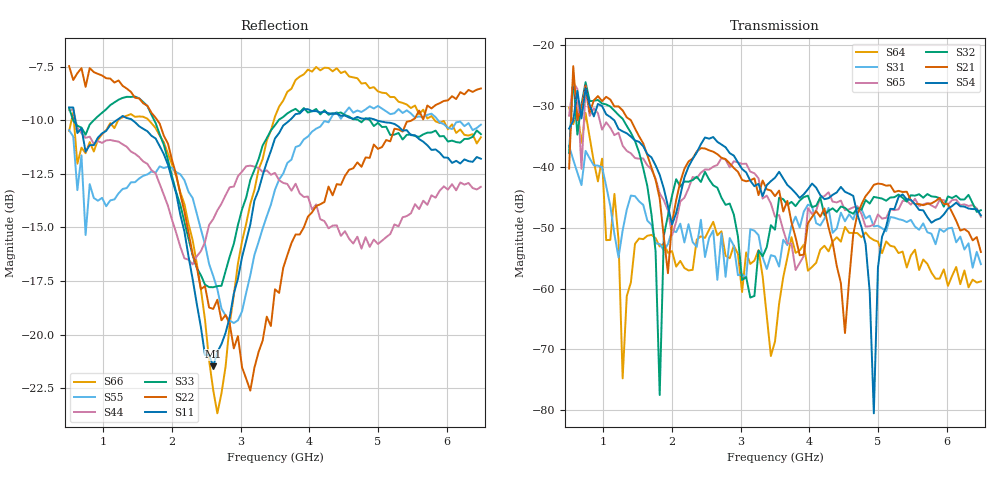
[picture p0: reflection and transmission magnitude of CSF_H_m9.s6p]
!Keysight Technologies,M9804A,MY58100912,A.14.10.03
!Date: Thursday, April 27, 2023 10:28:33
!Correction: S11(C  6-Port  )
!S12(C  6-Port  )
!S13(C  6-Port  )
!S14(C  6-Port  )
!S15(C  6-Port  )
!S16(C  6-Port  )
!S21(C  6-Port  )
!S22(C  6-Port  )
!S23(C  6-Port  )
!S24(C  6-Port  )
!S25(C  6-Port  )
!S26(C  6-Port  )
!S31(C  6-Port  )
!S32(C  6-Port  )
!S33(C  6-Port  )
!S34(C  6-Port  )
!S35(C  6-Port  )
!S36(C  6-Port  )
!S41(C  6-Port  )
!S42(C  6-Port  )
!S43(C  6-Port  )
!S44(C  6-Port  )
!S45(C  6-Port  )
!S46(C  6-Port  )
!S51(C  6-Port  )
!S52(C  6-Port  )
!S53(C  6-Port  )
!S54(C  6-Port  )
!S55(C  6-Port  )
!S56(C  6-Port  )
!S61(C  6-Port  )
!S62(C  6-Port  )
!S63(C  6-Port  )
!S64(C  6-Port  )
!S65(C  6-Port  )
!S66(C  6-Port  )
!S6P File: Measurement: :
# Hz S  RI  R 50
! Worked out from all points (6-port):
!   101 points, 500 MHz to 6.5 GHz, reference 50 ohm
!   strongest paths, dB at 500 MHz, 2 GHz, 3.5 GHz, 5 GHz, 6.5 GHz:
!     S54: -33.7, -49.5, -41.8, -56.6, -48.0
!     S21: -40.3, -49.1, -44.8, -42.7, -54.0
!     S32: -37.7, -44.7, -50.3, -45.1, -47.1
!     S65: -31.6, -51.2, -48.2, -47.8, -48.2
!     S31: -36.5, -50.5, -54.7, -49.7, -56.0
!     S64: -30.2, -53.8, -68.7, -52.3, -58.8
!   lowest |S11| = -21.5 dB at 2.6 GHz (marker M1), VSWR 1.18, Z = 42.5 + j2.19 ohm
!   |S11| at or under -10 dB: 589.8 MHz to 1.194 GHz (604.2 MHz wide, 67.7 % of centre); 1.423 GHz to 3.715 GHz (2.292 GHz wide, 89.2 % of centre); 4.975 GHz to end of sweep
